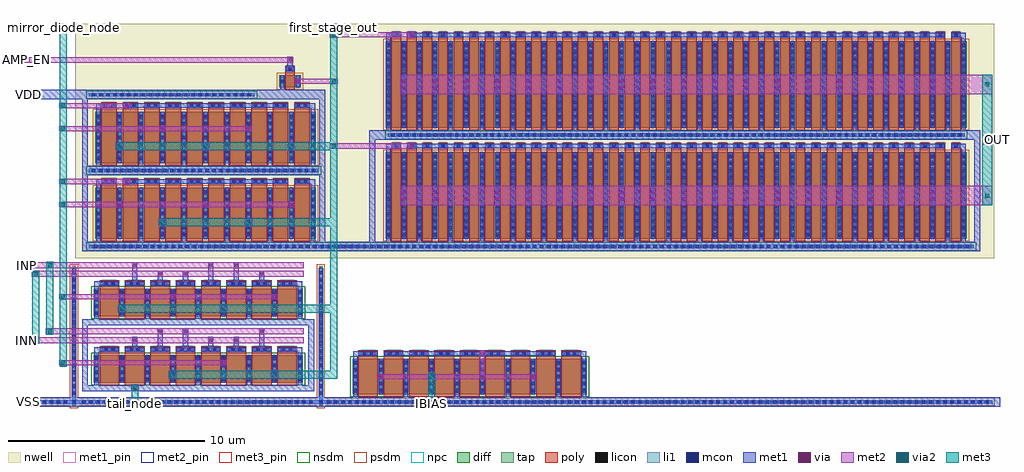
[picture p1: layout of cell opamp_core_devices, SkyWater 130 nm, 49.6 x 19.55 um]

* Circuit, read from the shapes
.subckt opamp_core_devices AMP_EN IBIAS INN INP OUT VDD VSS first_stage_out mirror_diode_node tail_node
XM1 mirror_diode_node tail_node tail_node VSS sky130_fd_pr__nfet_01v8 w=1.4 l=1 m=2
XM2 first_stage_out tail_node tail_node VSS sky130_fd_pr__nfet_01v8 w=1.4 l=1 m=2
XM3 tail_node INN mirror_diode_node VSS sky130_fd_pr__nfet_01v8 w=1.4 l=1 m=6
XM4 tail_node INP first_stage_out VSS sky130_fd_pr__nfet_01v8 w=1.4 l=1 m=6
XM5 IBIAS VSS VSS VSS sky130_fd_pr__nfet_01v8 w=1.8 l=1
XM6 VSS IBIAS IBIAS VSS sky130_fd_pr__nfet_01v8 w=1.8 l=1 m=7
XM7 VSS VSS VSS VSS sky130_fd_pr__nfet_01v8 w=1.8 l=1
XM8 mirror_diode_node VDD VDD VDD sky130_fd_pr__pfet_01v8 w=2.6 l=0.8 m=2
XM9 first_stage_out VDD VDD VDD sky130_fd_pr__pfet_01v8 w=2.6 l=0.8 m=2
XM10 VDD mirror_diode_node mirror_diode_node VDD sky130_fd_pr__pfet_01v8 w=2.6 l=0.8 m=8
XM11 VDD mirror_diode_node first_stage_out VDD sky130_fd_pr__pfet_01v8 w=2.6 l=0.8 m=8
XM12 first_stage_out AMP_EN VDD VDD sky130_fd_pr__pfet_01v8 w=0.6 l=0.5
XM13 OUT VDD VDD VDD sky130_fd_pr__pfet_01v8 w=4.4 l=0.5 m=2
XM14 VDD first_stage_out OUT VDD sky130_fd_pr__pfet_01v8 w=4.4 l=0.5 m=70
XM15 VDD VDD VDD VDD sky130_fd_pr__pfet_01v8 w=4.4 l=0.5 m=2
.ends

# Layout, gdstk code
import gdstk
lib = gdstk.Library(unit=1e-6, precision=1e-09)
def R(c, l, rs):  # rectangles x0, y0, x1, y1
    for r in rs: c.add(gdstk.rectangle(r[:2], r[2:], *l))
def A(c, l, x, y, w, h, nx, ny, dx, dy):  # array of equal rectangles
    R(c, l, [(x+i*dx, y+j*dy, x+i*dx+w, y+j*dy+h) for i in range(nx) for j in range(ny)])
nwell = (64, 20)
diff = (65, 20)
tap = (65, 44)
poly = (66, 20)
licon = (66, 44)
li1 = (67, 20)
mcon = (67, 44)
met1_pin = (68, 16)
met1 = (68, 20)
via = (68, 44)
met2_pin = (69, 16)
met2 = (69, 20)
via2 = (69, 44)
met3_pin = (70, 16)
met3 = (70, 20)
nsdm = (93, 44)
psdm = (94, 20)
npc = (95, 20)

sky130_fd_pr__nfet_01v8_ = lib.new_cell('sky130_fd_pr__nfet_01v8_VXXP8X')
R(sky130_fd_pr__nfet_01v8_, diff, [(-5.95,-1.055,5.95,0.745)])
A(sky130_fd_pr__nfet_01v8_, poly, -5.66, -1.185, 1, 2.37, 9, 1, 1.29, 0)
A(sky130_fd_pr__nfet_01v8_, licon, -5.89, -0.92, 0.17, 0.17, 10, 5, 1.29, 0.34)
R(sky130_fd_pr__nfet_01v8_, licon, [(-5.415,0.935,-5.245,1.105), (-5.075,0.935,-4.905,1.105), (-4.125,0.935,-3.955,1.105), (-3.785,0.935,-3.615,1.105), (-2.835,0.935,-2.665,1.105), (-2.495,0.935,-2.325,1.105), (-1.545,0.935,-1.375,1.105), (-1.205,0.935,-1.035,1.105), (-0.255,0.935,-0.085,1.105), (0.085,0.935,0.255,1.105), (1.035,0.935,1.205,1.105), (1.375,0.935,1.545,1.105), (2.325,0.935,2.495,1.105), (2.665,0.935,2.835,1.105), (3.615,0.935,3.785,1.105), (3.955,0.935,4.125,1.105), (4.905,0.935,5.075,1.105), (5.245,0.935,5.415,1.105)])
A(sky130_fd_pr__nfet_01v8_, li1, -5.89, -1.075, 0.17, 1.84, 10, 1, 1.29, 0)
A(sky130_fd_pr__nfet_01v8_, li1, -5.66, 0.935, 1, 0.17, 9, 1, 1.29, 0)
A(sky130_fd_pr__nfet_01v8_, mcon, -5.89, -0.96, 0.17, 0.17, 10, 5, 1.29, 0.36)
R(sky130_fd_pr__nfet_01v8_, mcon, [(-5.425,0.935,-5.255,1.105), (-5.065,0.935,-4.895,1.105), (-4.135,0.935,-3.965,1.105), (-3.775,0.935,-3.605,1.105), (-2.845,0.935,-2.675,1.105), (-2.485,0.935,-2.315,1.105), (-1.555,0.935,-1.385,1.105), (-1.195,0.935,-1.025,1.105), (-0.265,0.935,-0.095,1.105), (0.095,0.935,0.265,1.105), (1.025,0.935,1.195,1.105), (1.385,0.935,1.555,1.105), (2.315,0.935,2.485,1.105), (2.675,0.935,2.845,1.105), (3.605,0.935,3.775,1.105), (3.965,0.935,4.135,1.105), (4.895,0.935,5.065,1.105), (5.255,0.935,5.425,1.105)])
A(sky130_fd_pr__nfet_01v8_, met1, -5.92, -1.055, 0.23, 1.8, 10, 1, 1.29, 0)
A(sky130_fd_pr__nfet_01v8_, met1, -5.64, 0.905, 0.96, 0.23, 9, 1, 1.29, 0)
R(sky130_fd_pr__nfet_01v8_, nsdm, [(-6.075,-1.18,6.075,0.87)])
A(sky130_fd_pr__nfet_01v8_, npc, -5.515, 0.835, 0.71, 0.37, 9, 1, 1.29, 0)
sky130_fd_pr__nfet_01v8_.add(gdstk.Label('S8', (5.805,-0.155), layer=67, texttype=5))
sky130_fd_pr__nfet_01v8_.add(gdstk.Label('S7', (3.225,-0.155), layer=67, texttype=5))
sky130_fd_pr__nfet_01v8_.add(gdstk.Label('G6', (2.58,1.02), layer=67, texttype=5))
sky130_fd_pr__nfet_01v8_.add(gdstk.Label('D0', (-5.805,-0.155), layer=67, texttype=5))
sky130_fd_pr__nfet_01v8_.add(gdstk.Label('G8', (5.16,1.02), layer=67, texttype=5))
sky130_fd_pr__nfet_01v8_.add(gdstk.Label('G3', (-1.29,1.02), layer=67, texttype=5))
sky130_fd_pr__nfet_01v8_.add(gdstk.Label('D8', (4.515,-0.155), layer=67, texttype=5))
sky130_fd_pr__nfet_01v8_.add(gdstk.Label('G1', (-3.87,1.02), layer=67, texttype=5))
sky130_fd_pr__nfet_01v8_.add(gdstk.Label('D2', (-3.225,-0.155), layer=67, texttype=5))
sky130_fd_pr__nfet_01v8_.add(gdstk.Label('G7', (3.87,1.02), layer=67, texttype=5))
sky130_fd_pr__nfet_01v8_.add(gdstk.Label('G2', (-2.58,1.02), layer=67, texttype=5))
sky130_fd_pr__nfet_01v8_.add(gdstk.Label('S3', (-1.935,-0.155), layer=67, texttype=5))
sky130_fd_pr__nfet_01v8_.add(gdstk.Label('S1', (-4.515,-0.155), layer=67, texttype=5))
sky130_fd_pr__nfet_01v8_.add(gdstk.Label('S5', (0.645,-0.155), layer=67, texttype=5))
sky130_fd_pr__nfet_01v8_.add(gdstk.Label('D4', (-0.645,-0.155), layer=67, texttype=5))
sky130_fd_pr__nfet_01v8_.add(gdstk.Label('G0', (-5.16,1.02), layer=67, texttype=5))
sky130_fd_pr__nfet_01v8_.add(gdstk.Label('G4', (0,1.02), layer=67, texttype=5))
sky130_fd_pr__nfet_01v8_.add(gdstk.Label('G5', (1.29,1.02), layer=67, texttype=5))
sky130_fd_pr__nfet_01v8_.add(gdstk.Label('D6', (1.935,-0.155), layer=67, texttype=5))

sky130_fd_pr__pfet_01v8_ = lib.new_cell('sky130_fd_pr__pfet_01v8_2HEBVS')
R(sky130_fd_pr__pfet_01v8_, nwell, [(-0.72,-0.79,0.72,0.62)])
R(sky130_fd_pr__pfet_01v8_, diff, [(-0.54,-0.48,0.54,0.12)])
R(sky130_fd_pr__pfet_01v8_, poly, [(-0.25,-0.61,0.25,0.605)])
R(sky130_fd_pr__pfet_01v8_, licon, [(-0.48,-0.265,-0.31,-0.095), (0.31,-0.265,0.48,-0.095), (-0.085,0.355,0.085,0.525)])
R(sky130_fd_pr__pfet_01v8_, li1, [(-0.48,-0.5,-0.31,0.14), (0.31,-0.5,0.48,0.14), (-0.25,0.355,0.25,0.525)])
R(sky130_fd_pr__pfet_01v8_, mcon, [(-0.48,-0.265,-0.31,-0.095), (0.31,-0.265,0.48,-0.095), (-0.085,0.355,0.085,0.525)])
R(sky130_fd_pr__pfet_01v8_, met1, [(-0.51,-0.48,-0.28,0.12), (0.28,-0.48,0.51,0.12), (-0.23,0.325,0.23,0.555)])
R(sky130_fd_pr__pfet_01v8_, psdm, [(-0.665,-0.605,0.665,0.245)])
R(sky130_fd_pr__pfet_01v8_, npc, [(-0.185,0.255,0.185,0.625)])
sky130_fd_pr__pfet_01v8_.add(gdstk.Label('G', (0,0.44), layer=67, texttype=5))
sky130_fd_pr__pfet_01v8_.add(gdstk.Label('S', (0.395,-0.18), layer=67, texttype=5))
sky130_fd_pr__pfet_01v8_.add(gdstk.Label('D', (-0.395,-0.18), layer=67, texttype=5))

c_sky130_fd_pr__pfet_01v8_ = lib.new_cell('sky130_fd_pr__pfet_01v8_W6CLU8')
R(c_sky130_fd_pr__pfet_01v8_, nwell, [(-5.775,-1.79,5.775,1.62)])
R(c_sky130_fd_pr__pfet_01v8_, diff, [(-5.595,-1.48,5.595,1.12)])
A(c_sky130_fd_pr__pfet_01v8_, poly, -5.305, -1.61, 0.8, 3.215, 10, 1, 1.09, 0)
A(c_sky130_fd_pr__pfet_01v8_, licon, -5.535, -1.285, 0.17, 0.17, 11, 7, 1.09, 0.34)
R(c_sky130_fd_pr__pfet_01v8_, licon, [(-5.16,1.355,-4.99,1.525), (-4.82,1.355,-4.65,1.525), (-4.07,1.355,-3.9,1.525), (-3.73,1.355,-3.56,1.525), (-2.98,1.355,-2.81,1.525), (-2.64,1.355,-2.47,1.525), (-1.89,1.355,-1.72,1.525), (-1.55,1.355,-1.38,1.525), (-0.8,1.355,-0.63,1.525), (-0.46,1.355,-0.29,1.525), (0.29,1.355,0.46,1.525), (0.63,1.355,0.8,1.525), (1.38,1.355,1.55,1.525), (1.72,1.355,1.89,1.525), (2.47,1.355,2.64,1.525), (2.81,1.355,2.98,1.525), (3.56,1.355,3.73,1.525), (3.9,1.355,4.07,1.525), (4.65,1.355,4.82,1.525), (4.99,1.355,5.16,1.525)])
A(c_sky130_fd_pr__pfet_01v8_, li1, -5.535, -1.5, 0.17, 2.64, 11, 1, 1.09, 0)
A(c_sky130_fd_pr__pfet_01v8_, li1, -5.305, 1.355, 0.8, 0.17, 10, 1, 1.09, 0)
A(c_sky130_fd_pr__pfet_01v8_, mcon, -5.535, -1.345, 0.17, 0.17, 11, 7, 1.09, 0.36)
R(c_sky130_fd_pr__pfet_01v8_, mcon, [(-5.17,1.355,-5,1.525), (-4.81,1.355,-4.64,1.525), (-4.08,1.355,-3.91,1.525), (-3.72,1.355,-3.55,1.525), (-2.99,1.355,-2.82,1.525), (-2.63,1.355,-2.46,1.525), (-1.9,1.355,-1.73,1.525), (-1.54,1.355,-1.37,1.525), (-0.81,1.355,-0.64,1.525), (-0.45,1.355,-0.28,1.525), (0.28,1.355,0.45,1.525), (0.64,1.355,0.81,1.525), (1.37,1.355,1.54,1.525), (1.73,1.355,1.9,1.525), (2.46,1.355,2.63,1.525), (2.82,1.355,2.99,1.525), (3.55,1.355,3.72,1.525), (3.91,1.355,4.08,1.525), (4.64,1.355,4.81,1.525), (5,1.355,5.17,1.525)])
A(c_sky130_fd_pr__pfet_01v8_, met1, -5.565, -1.48, 0.23, 2.6, 11, 1, 1.09, 0)
A(c_sky130_fd_pr__pfet_01v8_, met1, -5.285, 1.325, 0.76, 0.23, 10, 1, 1.09, 0)
R(c_sky130_fd_pr__pfet_01v8_, psdm, [(-5.72,-1.605,5.72,1.245)])
A(c_sky130_fd_pr__pfet_01v8_, npc, -5.26, 1.255, 0.71, 0.37, 10, 1, 1.09, 0)
c_sky130_fd_pr__pfet_01v8_.add(gdstk.Label('G9', (4.905,1.44), layer=67, texttype=5))
c_sky130_fd_pr__pfet_01v8_.add(gdstk.Label('S9', (4.36,-0.18), layer=67, texttype=5))
c_sky130_fd_pr__pfet_01v8_.add(gdstk.Label('S7', (2.18,-0.18), layer=67, texttype=5))
c_sky130_fd_pr__pfet_01v8_.add(gdstk.Label('G6', (1.635,1.44), layer=67, texttype=5))
c_sky130_fd_pr__pfet_01v8_.add(gdstk.Label('D0', (-5.45,-0.18), layer=67, texttype=5))
c_sky130_fd_pr__pfet_01v8_.add(gdstk.Label('G8', (3.815,1.44), layer=67, texttype=5))
c_sky130_fd_pr__pfet_01v8_.add(gdstk.Label('G3', (-1.635,1.44), layer=67, texttype=5))
c_sky130_fd_pr__pfet_01v8_.add(gdstk.Label('D8', (3.27,-0.18), layer=67, texttype=5))
c_sky130_fd_pr__pfet_01v8_.add(gdstk.Label('G1', (-3.815,1.44), layer=67, texttype=5))
c_sky130_fd_pr__pfet_01v8_.add(gdstk.Label('D2', (-3.27,-0.18), layer=67, texttype=5))
c_sky130_fd_pr__pfet_01v8_.add(gdstk.Label('G7', (2.725,1.44), layer=67, texttype=5))
c_sky130_fd_pr__pfet_01v8_.add(gdstk.Label('G2', (-2.725,1.44), layer=67, texttype=5))
c_sky130_fd_pr__pfet_01v8_.add(gdstk.Label('S3', (-2.18,-0.18), layer=67, texttype=5))
c_sky130_fd_pr__pfet_01v8_.add(gdstk.Label('S1', (-4.36,-0.18), layer=67, texttype=5))
c_sky130_fd_pr__pfet_01v8_.add(gdstk.Label('S5', (0,-0.18), layer=67, texttype=5))
c_sky130_fd_pr__pfet_01v8_.add(gdstk.Label('D4', (-1.09,-0.18), layer=67, texttype=5))
c_sky130_fd_pr__pfet_01v8_.add(gdstk.Label('G0', (-4.905,1.44), layer=67, texttype=5))
c_sky130_fd_pr__pfet_01v8_.add(gdstk.Label('G4', (-0.545,1.44), layer=67, texttype=5))
c_sky130_fd_pr__pfet_01v8_.add(gdstk.Label('G5', (0.545,1.44), layer=67, texttype=5))
c_sky130_fd_pr__pfet_01v8_.add(gdstk.Label('D6', (1.09,-0.18), layer=67, texttype=5))

c_sky130_fd_pr__nfet_01v8_ = lib.new_cell('sky130_fd_pr__nfet_01v8_NRFABZ')
R(c_sky130_fd_pr__nfet_01v8_, diff, [(-5.305,-0.855,5.305,0.545)])
A(c_sky130_fd_pr__nfet_01v8_, poly, -5.015, -0.985, 1, 1.97, 8, 1, 1.29, 0)
A(c_sky130_fd_pr__nfet_01v8_, licon, -5.245, -0.75, 0.17, 0.17, 9, 4, 1.29, 0.34)
R(c_sky130_fd_pr__nfet_01v8_, licon, [(-4.77,0.735,-4.6,0.905), (-4.43,0.735,-4.26,0.905), (-3.48,0.735,-3.31,0.905), (-3.14,0.735,-2.97,0.905), (-2.19,0.735,-2.02,0.905), (-1.85,0.735,-1.68,0.905), (-0.9,0.735,-0.73,0.905), (-0.56,0.735,-0.39,0.905), (0.39,0.735,0.56,0.905), (0.73,0.735,0.9,0.905), (1.68,0.735,1.85,0.905), (2.02,0.735,2.19,0.905), (2.97,0.735,3.14,0.905), (3.31,0.735,3.48,0.905), (4.26,0.735,4.43,0.905), (4.6,0.735,4.77,0.905)])
A(c_sky130_fd_pr__nfet_01v8_, li1, -5.245, -0.875, 0.17, 1.44, 9, 1, 1.29, 0)
A(c_sky130_fd_pr__nfet_01v8_, li1, -5.015, 0.735, 1, 0.17, 8, 1, 1.29, 0)
A(c_sky130_fd_pr__nfet_01v8_, mcon, -5.245, -0.78, 0.17, 0.17, 9, 4, 1.29, 0.36)
R(c_sky130_fd_pr__nfet_01v8_, mcon, [(-4.78,0.735,-4.61,0.905), (-4.42,0.735,-4.25,0.905), (-3.49,0.735,-3.32,0.905), (-3.13,0.735,-2.96,0.905), (-2.2,0.735,-2.03,0.905), (-1.84,0.735,-1.67,0.905), (-0.91,0.735,-0.74,0.905), (-0.55,0.735,-0.38,0.905), (0.38,0.735,0.55,0.905), (0.74,0.735,0.91,0.905), (1.67,0.735,1.84,0.905), (2.03,0.735,2.2,0.905), (2.96,0.735,3.13,0.905), (3.32,0.735,3.49,0.905), (4.25,0.735,4.42,0.905), (4.61,0.735,4.78,0.905)])
A(c_sky130_fd_pr__nfet_01v8_, met1, -5.275, -0.855, 0.23, 1.4, 9, 1, 1.29, 0)
A(c_sky130_fd_pr__nfet_01v8_, met1, -4.995, 0.705, 0.96, 0.23, 8, 1, 1.29, 0)
R(c_sky130_fd_pr__nfet_01v8_, nsdm, [(-5.43,-0.98,5.43,0.67)])
A(c_sky130_fd_pr__nfet_01v8_, npc, -4.87, 0.635, 0.71, 0.37, 8, 1, 1.29, 0)
c_sky130_fd_pr__nfet_01v8_.add(gdstk.Label('S7', (3.87,-0.155), layer=67, texttype=5))
c_sky130_fd_pr__nfet_01v8_.add(gdstk.Label('G6', (3.225,0.82), layer=67, texttype=5))
c_sky130_fd_pr__nfet_01v8_.add(gdstk.Label('D0', (-5.16,-0.155), layer=67, texttype=5))
c_sky130_fd_pr__nfet_01v8_.add(gdstk.Label('G3', (-0.645,0.82), layer=67, texttype=5))
c_sky130_fd_pr__nfet_01v8_.add(gdstk.Label('G1', (-3.225,0.82), layer=67, texttype=5))
c_sky130_fd_pr__nfet_01v8_.add(gdstk.Label('D2', (-2.58,-0.155), layer=67, texttype=5))
c_sky130_fd_pr__nfet_01v8_.add(gdstk.Label('G7', (4.515,0.82), layer=67, texttype=5))
c_sky130_fd_pr__nfet_01v8_.add(gdstk.Label('G2', (-1.935,0.82), layer=67, texttype=5))
c_sky130_fd_pr__nfet_01v8_.add(gdstk.Label('S3', (-1.29,-0.155), layer=67, texttype=5))
c_sky130_fd_pr__nfet_01v8_.add(gdstk.Label('S1', (-3.87,-0.155), layer=67, texttype=5))
c_sky130_fd_pr__nfet_01v8_.add(gdstk.Label('S5', (1.29,-0.155), layer=67, texttype=5))
c_sky130_fd_pr__nfet_01v8_.add(gdstk.Label('D4', (0,-0.155), layer=67, texttype=5))
c_sky130_fd_pr__nfet_01v8_.add(gdstk.Label('G0', (-4.515,0.82), layer=67, texttype=5))
c_sky130_fd_pr__nfet_01v8_.add(gdstk.Label('G4', (0.645,0.82), layer=67, texttype=5))
c_sky130_fd_pr__nfet_01v8_.add(gdstk.Label('G5', (1.935,0.82), layer=67, texttype=5))
c_sky130_fd_pr__nfet_01v8_.add(gdstk.Label('D6', (2.58,-0.155), layer=67, texttype=5))

c_sky130_fd_pr__pfet_01v8__ = lib.new_cell('sky130_fd_pr__pfet_01v8_XQDDLY')
R(c_sky130_fd_pr__pfet_01v8__, nwell, [(-14.94,-2.69,14.94,2.52)])
R(c_sky130_fd_pr__pfet_01v8__, diff, [(-14.76,-2.38,14.76,2.02)])
A(c_sky130_fd_pr__pfet_01v8__, poly, -14.47, -2.51, 0.5, 5.015, 37, 1, 0.79, 0)
A(c_sky130_fd_pr__pfet_01v8__, licon, -14.7, -2.305, 0.17, 0.17, 38, 13, 0.79, 0.34)
A(c_sky130_fd_pr__pfet_01v8__, licon, -14.305, 2.255, 0.17, 0.17, 37, 1, 0.79, 0)
A(c_sky130_fd_pr__pfet_01v8__, li1, -14.7, -2.4, 0.17, 4.44, 38, 1, 0.79, 0)
A(c_sky130_fd_pr__pfet_01v8__, li1, -14.47, 2.255, 0.5, 0.17, 37, 1, 0.79, 0)
A(c_sky130_fd_pr__pfet_01v8__, mcon, -14.7, -2.245, 0.17, 0.17, 38, 12, 0.79, 0.36)
A(c_sky130_fd_pr__pfet_01v8__, mcon, -14.305, 2.255, 0.17, 0.17, 37, 1, 0.79, 0)
A(c_sky130_fd_pr__pfet_01v8__, met1, -14.73, -2.38, 0.23, 4.4, 38, 1, 0.79, 0)
A(c_sky130_fd_pr__pfet_01v8__, met1, -14.45, 2.225, 0.46, 0.23, 37, 1, 0.79, 0)
R(c_sky130_fd_pr__pfet_01v8__, psdm, [(-14.885,-2.505,14.885,2.145)])
A(c_sky130_fd_pr__pfet_01v8__, npc, -14.405, 2.155, 0.37, 0.37, 37, 1, 0.79, 0)
c_sky130_fd_pr__pfet_01v8__.add(gdstk.Label('S36', (14.615,-0.18), layer=67, texttype=5))
c_sky130_fd_pr__pfet_01v8__.add(gdstk.Label('G35', (13.43,2.34), layer=67, texttype=5))
c_sky130_fd_pr__pfet_01v8__.add(gdstk.Label('G33', (11.85,2.34), layer=67, texttype=5))
c_sky130_fd_pr__pfet_01v8__.add(gdstk.Label('G31', (10.27,2.34), layer=67, texttype=5))
c_sky130_fd_pr__pfet_01v8__.add(gdstk.Label('S31', (9.875,-0.18), layer=67, texttype=5))
c_sky130_fd_pr__pfet_01v8__.add(gdstk.Label('G30', (9.48,2.34), layer=67, texttype=5))
c_sky130_fd_pr__pfet_01v8__.add(gdstk.Label('D30', (9.085,-0.18), layer=67, texttype=5))
c_sky130_fd_pr__pfet_01v8__.add(gdstk.Label('D14', (-3.555,-0.18), layer=67, texttype=5))
c_sky130_fd_pr__pfet_01v8__.add(gdstk.Label('G12', (-4.74,2.34), layer=67, texttype=5))
c_sky130_fd_pr__pfet_01v8__.add(gdstk.Label('S33', (11.455,-0.18), layer=67, texttype=5))
c_sky130_fd_pr__pfet_01v8__.add(gdstk.Label('G24', (4.74,2.34), layer=67, texttype=5))
c_sky130_fd_pr__pfet_01v8__.add(gdstk.Label('G11', (-5.53,2.34), layer=67, texttype=5))
c_sky130_fd_pr__pfet_01v8__.add(gdstk.Label('G3', (-11.85,2.34), layer=67, texttype=5))
c_sky130_fd_pr__pfet_01v8__.add(gdstk.Label('G10', (-6.32,2.34), layer=67, texttype=5))
c_sky130_fd_pr__pfet_01v8__.add(gdstk.Label('G5', (-10.27,2.34), layer=67, texttype=5))
c_sky130_fd_pr__pfet_01v8__.add(gdstk.Label('D10', (-6.715,-0.18), layer=67, texttype=5))
c_sky130_fd_pr__pfet_01v8__.add(gdstk.Label('G32', (11.06,2.34), layer=67, texttype=5))
c_sky130_fd_pr__pfet_01v8__.add(gdstk.Label('G9', (-7.11,2.34), layer=67, texttype=5))
c_sky130_fd_pr__pfet_01v8__.add(gdstk.Label('G27', (7.11,2.34), layer=67, texttype=5))
c_sky130_fd_pr__pfet_01v8__.add(gdstk.Label('S9', (-7.505,-0.18), layer=67, texttype=5))
c_sky130_fd_pr__pfet_01v8__.add(gdstk.Label('S7', (-9.085,-0.18), layer=67, texttype=5))
c_sky130_fd_pr__pfet_01v8__.add(gdstk.Label('G6', (-9.48,2.34), layer=67, texttype=5))
c_sky130_fd_pr__pfet_01v8__.add(gdstk.Label('D0', (-14.615,-0.18), layer=67, texttype=5))
c_sky130_fd_pr__pfet_01v8__.add(gdstk.Label('G16', (-1.58,2.34), layer=67, texttype=5))
c_sky130_fd_pr__pfet_01v8__.add(gdstk.Label('G8', (-7.9,2.34), layer=67, texttype=5))
c_sky130_fd_pr__pfet_01v8__.add(gdstk.Label('D8', (-8.295,-0.18), layer=67, texttype=5))
c_sky130_fd_pr__pfet_01v8__.add(gdstk.Label('G1', (-13.43,2.34), layer=67, texttype=5))
c_sky130_fd_pr__pfet_01v8__.add(gdstk.Label('D2', (-13.035,-0.18), layer=67, texttype=5))
c_sky130_fd_pr__pfet_01v8__.add(gdstk.Label('S21', (1.975,-0.18), layer=67, texttype=5))
c_sky130_fd_pr__pfet_01v8__.add(gdstk.Label('G7', (-8.69,2.34), layer=67, texttype=5))
c_sky130_fd_pr__pfet_01v8__.add(gdstk.Label('G18', (0,2.34), layer=67, texttype=5))
c_sky130_fd_pr__pfet_01v8__.add(gdstk.Label('S3', (-12.245,-0.18), layer=67, texttype=5))
c_sky130_fd_pr__pfet_01v8__.add(gdstk.Label('D18', (-0.395,-0.18), layer=67, texttype=5))
c_sky130_fd_pr__pfet_01v8__.add(gdstk.Label('D6', (-9.875,-0.18), layer=67, texttype=5))
c_sky130_fd_pr__pfet_01v8__.add(gdstk.Label('G22', (3.16,2.34), layer=67, texttype=5))
c_sky130_fd_pr__pfet_01v8__.add(gdstk.Label('S1', (-13.825,-0.18), layer=67, texttype=5))
c_sky130_fd_pr__pfet_01v8__.add(gdstk.Label('S35', (13.035,-0.18), layer=67, texttype=5))
c_sky130_fd_pr__pfet_01v8__.add(gdstk.Label('D4', (-11.455,-0.18), layer=67, texttype=5))
c_sky130_fd_pr__pfet_01v8__.add(gdstk.Label('S5', (-10.665,-0.18), layer=67, texttype=5))
c_sky130_fd_pr__pfet_01v8__.add(gdstk.Label('G0', (-14.22,2.34), layer=67, texttype=5))
c_sky130_fd_pr__pfet_01v8__.add(gdstk.Label('D22', (2.765,-0.18), layer=67, texttype=5))
c_sky130_fd_pr__pfet_01v8__.add(gdstk.Label('G4', (-11.06,2.34), layer=67, texttype=5))
c_sky130_fd_pr__pfet_01v8__.add(gdstk.Label('S17', (-1.185,-0.18), layer=67, texttype=5))
c_sky130_fd_pr__pfet_01v8__.add(gdstk.Label('G2', (-12.64,2.34), layer=67, texttype=5))
c_sky130_fd_pr__pfet_01v8__.add(gdstk.Label('G14', (-3.16,2.34), layer=67, texttype=5))
c_sky130_fd_pr__pfet_01v8__.add(gdstk.Label('D16', (-1.975,-0.18), layer=67, texttype=5))
c_sky130_fd_pr__pfet_01v8__.add(gdstk.Label('S11', (-5.925,-0.18), layer=67, texttype=5))
c_sky130_fd_pr__pfet_01v8__.add(gdstk.Label('G15', (-2.37,2.34), layer=67, texttype=5))
c_sky130_fd_pr__pfet_01v8__.add(gdstk.Label('D20', (1.185,-0.18), layer=67, texttype=5))
c_sky130_fd_pr__pfet_01v8__.add(gdstk.Label('G17', (-0.79,2.34), layer=67, texttype=5))
c_sky130_fd_pr__pfet_01v8__.add(gdstk.Label('G13', (-3.95,2.34), layer=67, texttype=5))
c_sky130_fd_pr__pfet_01v8__.add(gdstk.Label('G19', (0.79,2.34), layer=67, texttype=5))
c_sky130_fd_pr__pfet_01v8__.add(gdstk.Label('D32', (10.665,-0.18), layer=67, texttype=5))
c_sky130_fd_pr__pfet_01v8__.add(gdstk.Label('S25', (5.135,-0.18), layer=67, texttype=5))
c_sky130_fd_pr__pfet_01v8__.add(gdstk.Label('G20', (1.58,2.34), layer=67, texttype=5))
c_sky130_fd_pr__pfet_01v8__.add(gdstk.Label('G21', (2.37,2.34), layer=67, texttype=5))
c_sky130_fd_pr__pfet_01v8__.add(gdstk.Label('G28', (7.9,2.34), layer=67, texttype=5))
c_sky130_fd_pr__pfet_01v8__.add(gdstk.Label('D28', (7.505,-0.18), layer=67, texttype=5))
c_sky130_fd_pr__pfet_01v8__.add(gdstk.Label('D12', (-5.135,-0.18), layer=67, texttype=5))
c_sky130_fd_pr__pfet_01v8__.add(gdstk.Label('S23', (3.555,-0.18), layer=67, texttype=5))
c_sky130_fd_pr__pfet_01v8__.add(gdstk.Label('G34', (12.64,2.34), layer=67, texttype=5))
c_sky130_fd_pr__pfet_01v8__.add(gdstk.Label('G25', (5.53,2.34), layer=67, texttype=5))
c_sky130_fd_pr__pfet_01v8__.add(gdstk.Label('G36', (14.22,2.34), layer=67, texttype=5))
c_sky130_fd_pr__pfet_01v8__.add(gdstk.Label('D34', (12.245,-0.18), layer=67, texttype=5))
c_sky130_fd_pr__pfet_01v8__.add(gdstk.Label('G29', (8.69,2.34), layer=67, texttype=5))
c_sky130_fd_pr__pfet_01v8__.add(gdstk.Label('S13', (-4.345,-0.18), layer=67, texttype=5))
c_sky130_fd_pr__pfet_01v8__.add(gdstk.Label('G23', (3.95,2.34), layer=67, texttype=5))
c_sky130_fd_pr__pfet_01v8__.add(gdstk.Label('D24', (4.345,-0.18), layer=67, texttype=5))
c_sky130_fd_pr__pfet_01v8__.add(gdstk.Label('D26', (5.925,-0.18), layer=67, texttype=5))
c_sky130_fd_pr__pfet_01v8__.add(gdstk.Label('D36', (13.825,-0.18), layer=67, texttype=5))
c_sky130_fd_pr__pfet_01v8__.add(gdstk.Label('G26', (6.32,2.34), layer=67, texttype=5))
c_sky130_fd_pr__pfet_01v8__.add(gdstk.Label('S19', (0.395,-0.18), layer=67, texttype=5))
c_sky130_fd_pr__pfet_01v8__.add(gdstk.Label('S15', (-2.765,-0.18), layer=67, texttype=5))
c_sky130_fd_pr__pfet_01v8__.add(gdstk.Label('S27', (6.715,-0.18), layer=67, texttype=5))
c_sky130_fd_pr__pfet_01v8__.add(gdstk.Label('S29', (8.295,-0.18), layer=67, texttype=5))

opamp_core_devices = lib.new_cell('opamp_core_devices')
R(opamp_core_devices, nwell, [(2.6,7.55,49.3,19.46)])
R(opamp_core_devices, tap, [(2.45,0.035,2.62,0.155), (15,0.035,15.17,0.155), (0.38,0.155,49.22,0.325), (2.45,0.325,2.62,7.12), (15,0.325,15.17,7.12), (3.28,8.055,48.27,8.225), (3.28,11.91,14.97,12.08), (18.48,13.71,47.82,13.88), (3.28,15.765,11.72,15.935)])
A(opamp_core_devices, licon, 0.625, 0.155, 0.17, 0.17, 5, 1, 0.34, 0)
A(opamp_core_devices, licon, 2.945, 0.155, 0.17, 0.17, 35, 1, 0.34, 0)
A(opamp_core_devices, licon, 15.475, 0.155, 0.17, 0.17, 99, 1, 0.34, 0)
A(opamp_core_devices, licon, 2.45, 0.6, 0.17, 0.17, 1, 19, 0, 0.34)
A(opamp_core_devices, licon, 15, 0.6, 0.17, 0.17, 1, 19, 0, 0.34)
A(opamp_core_devices, licon, 3.42, 8.055, 0.17, 0.17, 132, 1, 0.34, 0)
A(opamp_core_devices, licon, 3.43, 11.91, 0.17, 0.17, 34, 1, 0.34, 0)
A(opamp_core_devices, licon, 18.615, 13.71, 0.17, 0.17, 86, 1, 0.34, 0)
A(opamp_core_devices, licon, 3.505, 15.765, 0.17, 0.17, 24, 1, 0.34, 0)
R(opamp_core_devices, licon, [(2.45,0.155,2.62,0.325), (15,0.155,15.17,0.325)])
R(opamp_core_devices, li1, [(2.45,0.075,2.62,0.155), (15,0.075,15.17,0.155), (0.42,0.155,49.18,0.325), (2.45,0.325,2.62,7.08), (15,0.325,15.17,7.08), (3.32,8.055,48.23,8.225), (3.32,11.91,14.93,12.08), (18.52,13.71,47.78,13.88), (3.32,15.765,11.68,15.935)])
A(opamp_core_devices, mcon, 0.59, 0.155, 0.17, 0.17, 5, 1, 0.36, 0)
A(opamp_core_devices, mcon, 2.965, 0.155, 0.17, 0.17, 33, 1, 0.36, 0)
A(opamp_core_devices, mcon, 15.39, 0.155, 0.17, 0.17, 94, 1, 0.36, 0)
A(opamp_core_devices, mcon, 2.45, 0.595, 0.17, 0.17, 1, 18, 0, 0.36)
A(opamp_core_devices, mcon, 15, 0.595, 0.17, 0.17, 1, 18, 0, 0.36)
A(opamp_core_devices, mcon, 3.55, 8.055, 0.17, 0.17, 124, 1, 0.36, 0)
A(opamp_core_devices, mcon, 3.46, 11.91, 0.17, 0.17, 32, 1, 0.36, 0)
A(opamp_core_devices, mcon, 18.665, 13.71, 0.17, 0.17, 81, 1, 0.36, 0)
A(opamp_core_devices, mcon, 3.455, 15.765, 0.17, 0.17, 23, 1, 0.36, 0)
R(opamp_core_devices, mcon, [(2.45,0.155,2.62,0.325), (15,0.155,15.17,0.325)])
R(opamp_core_devices, met1_pin, [(0,0,0.46,0.48), (0,15.61,0.46,16.09)])
A(opamp_core_devices, met1, 19.31, 0.48, 0.23, 1.94, 4, 1, 2.58, 0)
A(opamp_core_devices, met1, 6.16, 1.08, 0.23, 1.54, 3, 2, 2.58, 3.36)
A(opamp_core_devices, met1, 18.005, 1.36, 0.26, 0.32, 4, 1, 2.58, 0)
A(opamp_core_devices, met1, 5.84, 8.38, 0.23, 2.74, 4, 2, 2.18, 3.855)
A(opamp_core_devices, met1, 19.99, 8.38, 0.23, 4.54, 18, 2, 1.58, 5.655)
A(opamp_core_devices, met1, 4.735, 10.11, 0.26, 0.32, 3, 2, 4.36, 2.955)
A(opamp_core_devices, met1, 19.185, 10.25, 0.26, 0.94, 18, 2, 1.58, 5.655)
R(opamp_core_devices, met1, [(0,0,49.6,0.48), (2.42,0.48,2.65,7.03), (14.97,0.48,15.2,7.03), (16.73,0.48,16.96,2.58), (28.34,0.48,28.57,2.58), (2.95,0.78,14.75,1.08), (2.95,1.08,3.25,4.14), (3.58,1.08,3.81,2.78), (13.9,1.08,14.13,2.78), (14.45,1.08,14.75,4.14), (7.435,1.46,7.695,1.78), (12.595,1.46,12.855,1.78), (4.855,2.06,5.115,2.38), (10.015,2.06,10.275,2.38), (23.135,2.565,23.455,2.58), (16.73,2.58,17.97,2.81), (18.3,2.58,27,2.81), (27.33,2.58,28.57,2.81), (3.58,2.78,4.82,3.01), (5.5,2.78,5.76,3.54), (6.79,2.78,7.05,3.98), (8.08,2.78,8.34,3.98), (9.37,2.78,9.63,3.54), (10.66,2.78,10.92,3.54), (11.95,2.78,12.21,3.98), (12.89,2.78,14.13,3.01), (23.135,2.81,23.455,2.825), (2.95,4.14,14.75,4.44), (3.58,4.44,3.81,6.14), (13.9,4.44,14.13,6.14), (4.855,4.82,5.115,5.14), (10.015,4.82,10.275,5.14), (7.435,5.42,7.695,5.74), (12.595,5.42,12.855,5.74), (3.58,6.14,4.82,6.37), (5.5,6.14,5.76,7.34), (6.79,6.14,7.05,6.9), (8.08,6.14,8.34,6.9), (9.37,6.14,9.63,7.34), (10.66,6.14,10.92,7.34), (11.95,6.14,12.21,6.9), (12.89,6.14,14.13,6.37), (2.95,7.9,48.6,8.38), (2.95,8.38,3.25,11.755), (3.66,8.38,3.89,11.325), (14.56,8.38,14.79,11.325), (15,8.38,15.3,11.755), (17.55,8.38,17.85,13.555), (18.41,8.38,18.64,13.125), (47.64,8.38,47.87,13.125), (48.3,8.38,48.6,13.555), (6.915,9.21,7.175,9.53), (11.275,9.21,11.535,9.53), (5.07,11.31,5.39,11.325), (3.66,11.325,4.7,11.555), (5.03,11.325,13.42,11.555), (13.75,11.325,14.79,11.555), (5.07,11.555,5.39,11.57), (2.95,11.755,15.3,12.235), (2.95,12.235,3.25,15.61), (3.66,12.235,3.89,15.18), (14.56,12.235,14.79,15.18), (15,12.235,15.3,15.61), (19.52,13.11,19.84,13.125), (18.41,13.125,19.15,13.355), (19.48,13.125,46.8,13.355), (47.13,13.125,47.87,13.355), (19.52,13.355,19.84,13.37), (17.55,13.555,48.6,14.035), (6.915,13.965,7.175,14.285), (11.275,13.965,11.535,14.285), (18.41,14.035,18.64,18.78), (47.64,14.035,47.87,18.78), (5.07,15.165,5.39,15.18), (3.66,15.18,4.7,15.41), (5.03,15.18,13.42,15.41), (13.75,15.18,14.79,15.41), (5.07,15.41,5.39,15.425), (0,15.61,15.3,16.09), (13.01,16.09,13.24,16.83), (13.785,16.37,14.045,16.69), (13.39,17.035,13.65,17.775), (19.52,18.765,19.84,18.78), (18.41,18.78,19.15,19.01), (19.48,18.78,46.8,19.01), (47.13,18.78,47.87,19.01), (19.52,19.01,19.84,19.025)])
A(opamp_core_devices, via, 18.06, 1.445, 0.15, 0.15, 4, 1, 2.58, 0)
A(opamp_core_devices, via, 4.79, 10.195, 0.15, 0.15, 3, 2, 4.36, 2.955)
A(opamp_core_devices, via, 19.24, 10.485, 0.15, 0.15, 18, 2, 1.58, 0.32)
A(opamp_core_devices, via, 19.24, 16.14, 0.15, 0.15, 18, 2, 1.58, 0.32)
R(opamp_core_devices, via, [(5.565,0.855,5.715,1.005), (7.49,1.545,7.64,1.695), (12.65,1.545,12.8,1.695), (4.91,2.145,5.06,2.295), (10.07,2.145,10.22,2.295), (23.22,2.62,23.37,2.77), (5.555,3.305,5.705,3.455), (9.425,3.305,9.575,3.455), (10.715,3.305,10.865,3.455), (6.845,3.745,6.995,3.895), (8.135,3.745,8.285,3.895), (12.005,3.745,12.155,3.895), (4.91,4.905,5.06,5.055), (10.07,4.905,10.22,5.055), (7.49,5.505,7.64,5.655), (12.65,5.505,12.8,5.655), (6.845,6.665,6.995,6.815), (8.135,6.665,8.285,6.815), (12.005,6.665,12.155,6.815), (5.555,7.105,5.705,7.255), (9.425,7.105,9.575,7.255), (10.715,7.105,10.865,7.255), (6.97,9.295,7.12,9.445), (11.33,9.295,11.48,9.445), (5.155,11.365,5.305,11.515), (19.605,13.165,19.755,13.315), (6.97,14.05,7.12,14.2), (11.33,14.05,11.48,14.2), (5.155,15.22,5.305,15.37), (13.84,16.455,13.99,16.605), (13.445,17.54,13.595,17.69), (19.605,18.82,19.755,18.97)])
R(opamp_core_devices, met2_pin, [(0,3.23,0.3,3.53), (0,7.03,0.3,7.33), (49.3,13.3,49.6,13.8), (0,17.465,0.3,17.765)])
A(opamp_core_devices, met2, 4.68, 13.065, 0.37, 0.32, 3, 1, 4.36, 0)
R(opamp_core_devices, met2, [(5.51,0.77,5.77,0.79), (5.455,0.79,5.825,1.07), (5.51,1.07,5.77,1.09), (20.53,1.38,20.9,1.39), (17.975,1.39,26.035,1.65), (7.38,1.46,7.75,1.78), (12.54,1.46,12.91,1.78), (20.53,1.65,20.9,1.66), (23.165,1.65,23.425,2.855), (1.815,2.08,2.185,2.09), (1.8,2.09,10.305,2.35), (1.815,2.35,2.185,2.36), (0,3.23,14.215,3.53), (1.1,3.67,14.215,3.97), (4.8,4.82,5.17,5.14), (9.96,4.82,10.33,5.14), (1.815,5.44,2.185,5.45), (1.8,5.45,12.885,5.71), (1.815,5.71,2.185,5.72), (0.4,6.59,14.215,6.89), (0,7.03,14.215,7.33), (6.86,9.21,7.23,9.53), (11.22,9.21,11.59,9.53), (1.815,10.13,2.185,10.14), (1.8,10.14,13.745,10.4), (19.115,10.22,49.2,11.22), (1.815,10.4,2.185,10.41), (5.1,11.28,5.36,11.31), (1.815,11.3,2.185,11.31), (1.8,11.31,5.39,11.57), (1.815,11.57,2.185,11.58), (5.1,11.57,5.36,11.6), (19.55,13.08,19.81,13.11), (15.565,13.1,15.935,13.11), (15.55,13.11,19.84,13.37), (48.75,13.3,49.6,13.8), (15.565,13.37,15.935,13.38), (19.55,13.37,19.81,13.4), (1.815,13.985,2.185,13.995), (1.8,13.995,11.565,14.255), (1.815,14.255,2.185,14.265), (5.1,15.135,5.36,15.165), (1.815,15.155,2.185,15.165), (1.8,15.165,5.39,15.425), (1.815,15.425,2.185,15.435), (5.1,15.425,5.36,15.455), (19.115,15.875,49.2,16.875), (15.565,16.39,15.935,16.4), (13.755,16.4,15.95,16.66), (15.565,16.66,15.935,16.67), (0,17.465,13.68,17.765), (19.55,18.735,19.81,18.765), (15.565,18.755,15.935,18.765), (15.55,18.765,19.84,19.025), (15.565,19.025,15.935,19.035), (19.55,19.025,19.81,19.055)])
A(opamp_core_devices, via2, 4.765, 13.125, 0.2, 0.2, 3, 1, 4.36, 0)
R(opamp_core_devices, via2, [(5.54,0.83,5.74,1.03), (20.615,1.42,20.815,1.62), (7.465,1.52,7.665,1.72), (12.625,1.52,12.825,1.72), (1.9,2.12,2.1,2.32), (0.5,3.28,0.7,3.48), (1.2,3.72,1.4,3.92), (4.885,4.88,5.085,5.08), (10.045,4.88,10.245,5.08), (1.9,5.48,2.1,5.68), (0.5,6.64,0.7,6.84), (1.2,7.08,1.4,7.28), (6.945,9.27,7.145,9.47), (11.305,9.27,11.505,9.47), (1.9,10.17,2.1,10.37), (48.85,10.62,49.05,10.82), (1.9,11.34,2.1,11.54), (15.65,13.14,15.85,13.34), (48.85,13.45,49.05,13.65), (1.9,14.025,2.1,14.225), (1.9,15.195,2.1,15.395), (48.85,16.275,49.05,16.475), (15.65,16.43,15.85,16.63), (15.65,18.795,15.85,18.995)])
R(opamp_core_devices, met3_pin, [(5.465,0,5.815,0.35), (20.54,0,20.89,0.35), (1.825,19.11,2.175,19.46), (15.575,19.11,15.925,19.46)])
R(opamp_core_devices, met3, [(5.465,0,5.815,1.13), (20.54,0,20.89,1.72), (7.365,1.42,15.925,1.82), (15.575,1.82,15.925,4.78), (1.825,2.02,2.175,19.46), (0.425,3.205,0.775,6.915), (1.125,3.645,1.475,7.355), (4.785,4.78,15.925,5.18), (15.575,5.18,15.925,9.17), (6.845,9.17,15.925,9.57), (15.575,9.57,15.925,13.025), (48.7,10.22,49.2,16.875), (4.665,13.025,15.925,13.425), (15.575,13.425,15.925,19.46)])
R(opamp_core_devices, nsdm, [(3.155,7.93,48.395,8.35), (3.155,11.785,15.095,12.205), (18.355,13.585,47.945,14.005), (3.155,15.64,11.845,16.06)])
R(opamp_core_devices, psdm, [(2.325,-0.09,2.745,0.03), (14.875,-0.09,15.295,0.03), (0.255,0.03,49.345,0.45), (2.325,0.45,2.745,7.245), (14.875,0.45,15.295,7.245)])
opamp_core_devices.add(gdstk.Reference(sky130_fd_pr__nfet_01v8_, (22.65,1.675)))
opamp_core_devices.add(gdstk.Reference(sky130_fd_pr__pfet_01v8_, (13.52,16.71)))
opamp_core_devices.add(gdstk.Reference(c_sky130_fd_pr__pfet_01v8_, (9.225,10)))
opamp_core_devices.add(gdstk.Reference(c_sky130_fd_pr__pfet_01v8_, (9.225,13.855)))
opamp_core_devices.add(gdstk.Reference(c_sky130_fd_pr__nfet_01v8_, (8.855,2.075)))
opamp_core_devices.add(gdstk.Reference(c_sky130_fd_pr__nfet_01v8_, (8.855,5.435)))
opamp_core_devices.add(gdstk.Reference(c_sky130_fd_pr__pfet_01v8__, (33.14,10.9)))
opamp_core_devices.add(gdstk.Reference(c_sky130_fd_pr__pfet_01v8__, (33.14,16.555)))
opamp_core_devices.add(gdstk.Label('VSS', (0.23,0.24), layer=68, texttype=5))
opamp_core_devices.add(gdstk.Label('VDD', (0.23,15.85), layer=68, texttype=5))
opamp_core_devices.add(gdstk.Label('first_stage_out', (15.75,19.285), layer=70, texttype=5))
opamp_core_devices.add(gdstk.Label('mirror_diode_node', (2,19.285), layer=70, texttype=5))
opamp_core_devices.add(gdstk.Label('IBIAS', (20.715,0.175), layer=70, texttype=5))
opamp_core_devices.add(gdstk.Label('tail_node', (5.64,0.175), layer=70, texttype=5))
opamp_core_devices.add(gdstk.Label('OUT', (49.45,13.55), layer=69, texttype=5))
opamp_core_devices.add(gdstk.Label('AMP_EN', (0.15,17.615), layer=69, texttype=5))
opamp_core_devices.add(gdstk.Label('INP', (0.15,7.18), layer=69, texttype=5))
opamp_core_devices.add(gdstk.Label('INN', (0.15,3.38), layer=69, texttype=5))

lib.write_gds('opamp_core_devices.gds')
